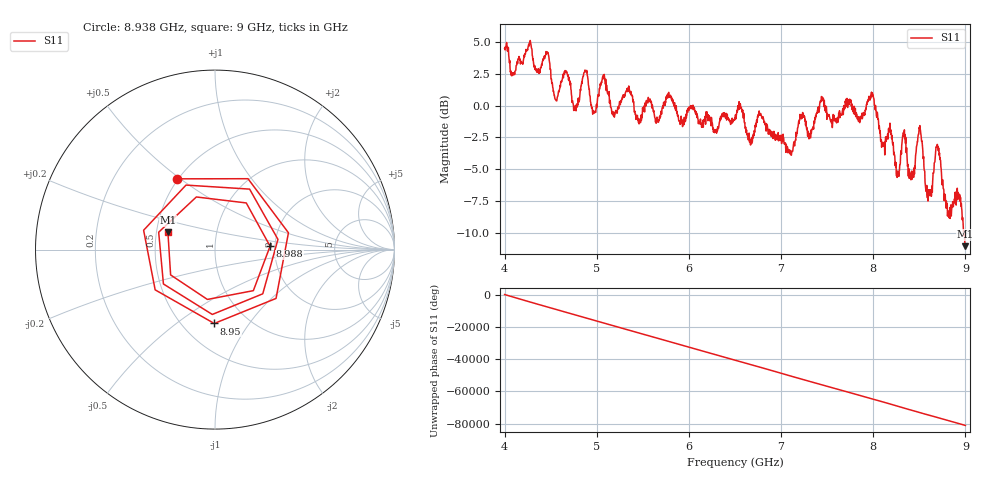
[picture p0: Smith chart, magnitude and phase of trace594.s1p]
! Created with skrf 1.8.0 (http://scikit-rf.org).
# Hz S RI R 50.0
!freq ReS11 ImS11
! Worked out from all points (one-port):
!   1601 points, 4 GHz to 9 GHz, reference 50 ohm
!   lowest |S11| = -11.1 dB at 9 GHz (marker M1), VSWR 1.78, Z = 28.8 + j6.04 ohm
!   |S11| at or under -10 dB: 8.980095 GHz to end of sweep
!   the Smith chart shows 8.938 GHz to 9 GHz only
!   S11 on the Smith chart (normalised r, x): 8.938 GHz: 0.50, +0.49; 8.95 GHz: 0.71, -0.70; 8.988 GHz: 1.88, +0.08; 9 GHz: 0.58, +0.12
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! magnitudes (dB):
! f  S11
! 4 GHz  4.5
! 4.088 GHz  2.6
! 4.462 GHz  4.2
! 4.556 GHz  0.4
! 4.625 GHz  2.1
! 4.769 GHz  0.0
! 4.875 GHz  2.7
! 4.962 GHz  -0.4
! 5.072 GHz  2.4
! 5.25 GHz  0.3
! 5.875 GHz  -0.8
! 6.5 GHz  -1.1
! 7.125 GHz  -3.6
! 7.222 GHz  -1.0
! 7.75 GHz  0.5
! 7.988 GHz  0.8
! 8.103 GHz  -2.9
! 8.338 GHz  -1.9
! 8.375 GHz  -4.6
! 8.428 GHz  -5.2
! 8.506 GHz  -1.6
! 8.591 GHz  -6.6
! 8.7 GHz  -3.3
! 8.809 GHz  -8.3
! 8.938 GHz  -7.0
! 8.95 GHz  -7.7
! 8.988 GHz  -10.2
! 9 GHz  -11.1
